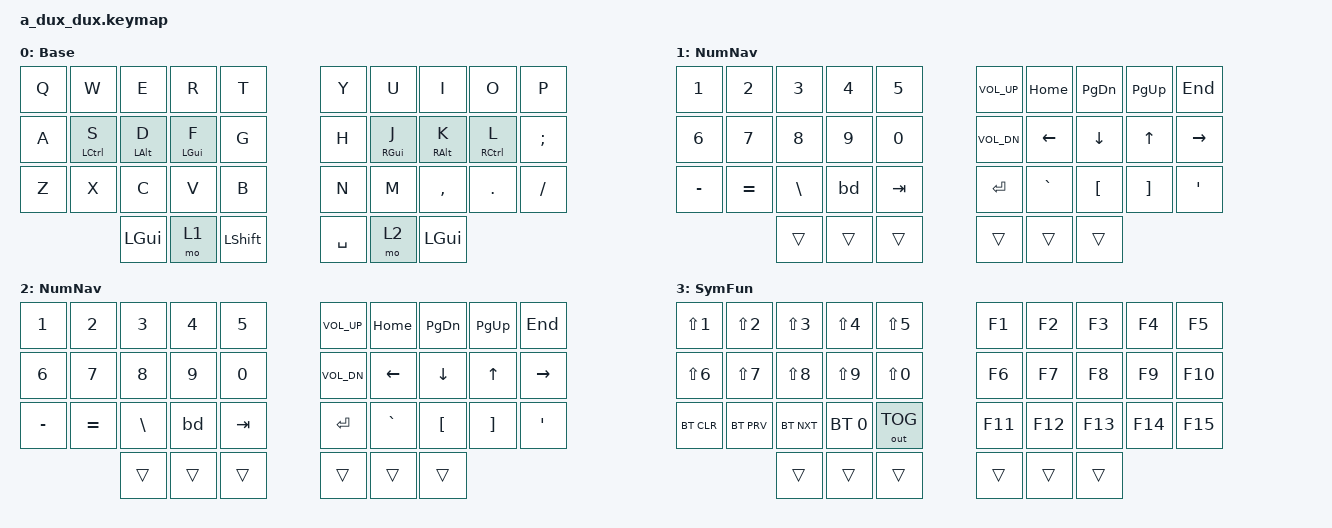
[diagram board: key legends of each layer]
/*
 * Copyright (c) 2021 Pete Johanson
 *
 * SPDX-License-Identifier: MIT
 */

#include <behaviors.dtsi>
#include <dt-bindings/zmk/bt.h>
#include <dt-bindings/zmk/keys.h>
#include <dt-bindings/zmk/outputs.h>

&lt { quick_tap_ms = <200>; };

/ {
    conditional_layers {
        compatible = "zmk,conditional-layers";

        tri_layer {
            if-layers = <1 2>;
            then-layer = <3>;
        };
    };

    combos {
        compatible = "zmk,combos";

        combo_esc {
            timeout-ms = <50>;
            key-positions = <0 4>;
            bindings = <&kp ESC>;
        };
    };

    behaviors {
        hm: homerow_mods {
            compatible = "zmk,behavior-hold-tap";
            label = "HOMEROW_MODS";
            #binding-cells = <2>;
            tapping-term-ms = <200>;
            flavor = "tap-preferred";
            bindings = <&kp>, <&kp>;
        };

        bd: backspace_delete {
            compatible = "zmk,behavior-mod-morph";
            label = "BACKSPACE_DELETE";
            #binding-cells = <0>;
            bindings = <&kp BSPC>, <&kp DEL>;

            mods = <(MOD_LSFT|MOD_RSFT)>;
        };
    };

    keymap {
        compatible = "zmk,keymap";

        base_layer {
            label = "Base";
            bindings = <
&kp Q  &kp W        &kp E       &kp R       &kp T                           &kp Y  &kp U       &kp I       &kp O        &kp P
&kp A  &hm LCTRL S  &hm LALT D  &hm LGUI F  &kp G                           &kp H  &hm RGUI J  &hm RALT K  &hm RCTRL L  &kp SEMI
&kp Z  &kp X        &kp C       &kp V       &kp B                           &kp N  &kp M       &kp COMMA   &kp DOT      &kp SLASH
                                &kp LGUI    &mo 1  &kp LSHIFT    &kp SPACE  &mo 2  &kp LGUI
            >;
        };

        lower_layer {
            label = "NumNav";
            bindings = <
&kp N1     &kp N2     &kp N3    &kp N4  &kp N5                     &kp C_VOL_UP  &kp HOME   &kp PG_DN  &kp PG_UP  &kp END
&kp N6     &kp N7     &kp N8    &kp N9  &kp N0                     &kp C_VOL_DN  &kp LEFT   &kp DOWN   &kp UP     &kp RIGHT
&kp MINUS  &kp EQUAL  &kp BSLH  &bd     &kp TAB                    &kp ENTER     &kp GRAVE  &kp LBKT   &kp RBKT   &kp SQT
                                &trans  &trans   &trans    &trans  &trans        &trans
            >;
        };

        raise_layer {
            label = "NumNav";
            bindings = <
&kp N1     &kp N2     &kp N3    &kp N4  &kp N5                     &kp C_VOL_UP  &kp HOME   &kp PG_DN  &kp PG_UP  &kp END
&kp N6     &kp N7     &kp N8    &kp N9  &kp N0                     &kp C_VOL_DN  &kp LEFT   &kp DOWN   &kp UP     &kp RIGHT
&kp MINUS  &kp EQUAL  &kp BSLH  &bd     &kp TAB                    &kp ENTER     &kp GRAVE  &kp LBKT   &kp RBKT   &kp SQT
                                &trans  &trans   &trans    &trans  &trans        &trans
            >;
        };

        adjust_layer {
            label = "SymFun";
            bindings = <
&kp LS(N1)  &kp LS(N2)  &kp LS(N3)  &kp LS(N4)    &kp LS(N5)                      &kp F1   &kp F2   &kp F3   &kp F4   &kp F5
&kp LS(N6)  &kp LS(N7)  &kp LS(N8)  &kp LS(N9)    &kp LS(N0)                      &kp F6   &kp F7   &kp F8   &kp F9   &kp F10
&bt BT_CLR  &bt BT_PRV  &bt BT_NXT  &bt BT_SEL 0  &out OUT_TOG                    &kp F11  &kp F12  &kp F13  &kp F14  &kp F15
                                    &trans        &trans        &trans    &trans  &trans   &trans
            >;
        };
    };
};
